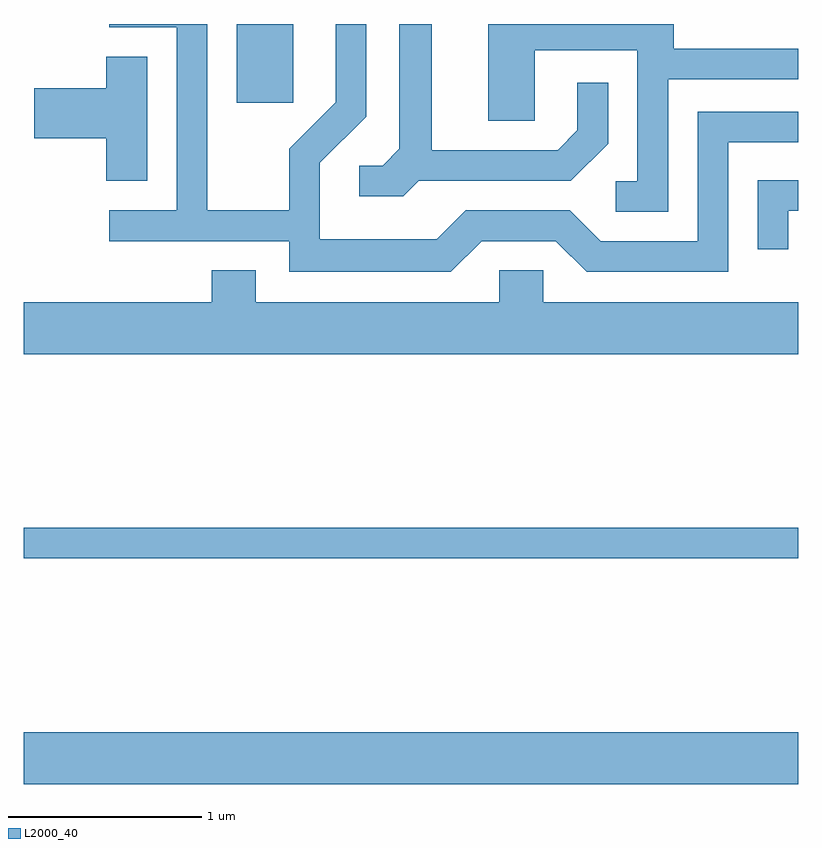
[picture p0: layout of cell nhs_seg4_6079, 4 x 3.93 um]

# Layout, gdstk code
import gdstk
lib = gdstk.Library(unit=1e-6, precision=1e-09)
def R(c, l, rs):  # rectangles x0, y0, x1, y1
    for r in rs: c.add(gdstk.rectangle(r[:2], r[2:], *l))
def P(c, l, *ps):  # polygons
    for p in ps: c.add(gdstk.Polygon(p, *l))
L2000_40 = (2000, 40)

nhs_seg4_6079 = lib.new_cell('nhs_seg4_6079')
R(nhs_seg4_6079, L2000_40, [(363.611,1308.056,367.611,1308.324), (363.611,1309.221,367.611,1309.379), (364.711,1311.576,365.004,1311.982)])
P(nhs_seg4_6079, L2000_40, [(365.977,1310.861),(366.359,1310.861),(366.519,1310.701),(367.249,1310.701),(367.249,1311.371),(367.611,1311.371),(367.611,1311.529),(367.091,1311.529),(367.091,1310.859),(366.592,1310.859),(366.432,1311.019),(365.894,1311.019),(365.744,1310.869),(365.139,1310.869),(365.139,1311.264),(365.379,1311.504),(365.379,1311.982),(365.221,1311.982),(365.221,1311.577),(364.981,1311.337),(364.981,1311.019),(364.559,1311.019),(364.559,1311.982),(364.053,1311.982),(364.053,1311.966),(364.401,1311.966),(364.401,1311.019),(364.053,1311.019),(364.053,1310.861),(364.981,1310.861),(364.981,1310.701),(365.817,1310.701)],
  [(365.652,1311.171),(366.437,1311.171),(366.629,1311.364),(366.629,1311.678),(366.471,1311.678),(366.471,1311.432),(366.369,1311.329),(365.719,1311.329),(365.719,1311.982),(365.551,1311.982),(365.551,1311.337),(365.464,1311.249),(365.343,1311.249),(365.343,1311.091),(365.572,1311.091)],
  [(366.939,1311.696),(367.611,1311.696),(367.611,1311.854),(366.969,1311.854),(366.969,1311.982),(366.011,1311.982),(366.011,1311.481),(366.249,1311.481),(366.249,1311.846),(366.781,1311.846),(366.781,1311.169),(366.668,1311.169),(366.668,1311.011),(366.939,1311.011)],
  [(364.249,1311.814),(364.036,1311.814),(364.036,1311.649),(363.666,1311.649),(363.666,1311.391),(364.036,1311.391),(364.036,1311.171),(364.249,1311.171)],
  [(367.559,1311.016),(367.611,1311.016),(367.611,1311.174),(367.401,1311.174),(367.401,1310.818),(367.559,1310.818)],
  [(367.611,1310.544),(366.294,1310.544),(366.294,1310.709),(366.066,1310.709),(366.066,1310.544),(364.809,1310.544),(364.809,1310.709),(364.581,1310.709),(364.581,1310.544),(363.611,1310.544),(363.611,1310.276),(367.611,1310.276)])

lib.write_gds('nhs_seg4_6079.gds')
